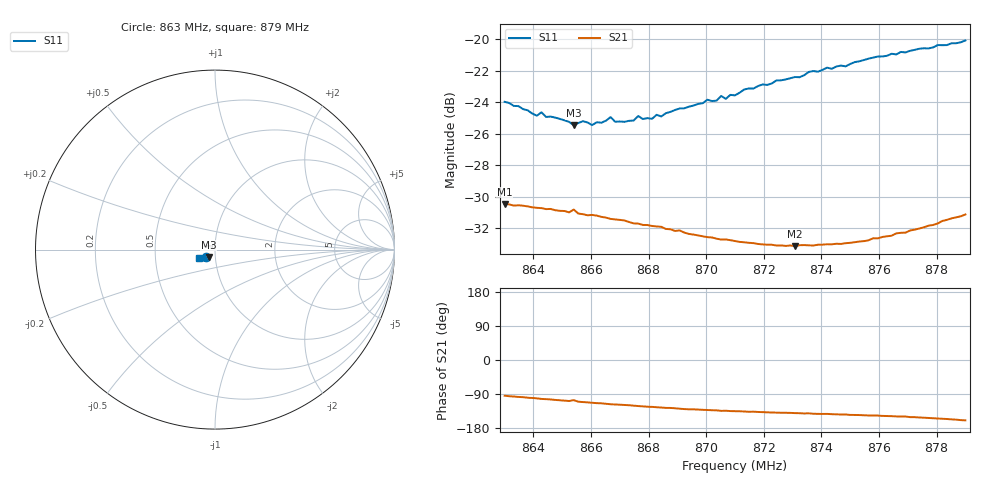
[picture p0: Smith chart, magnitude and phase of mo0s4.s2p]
# HZ S RI R 50
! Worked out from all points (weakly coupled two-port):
!   101 points, 863 MHz to 879 MHz, reference 50 ohm
!   highest |S21| = -30.47 dB at 863 MHz (marker M1); lowest = -33.1 dB at 873.08 MHz (marker M2)
!   lowest |S11| = -25.5 dB at 865.4 MHz (marker M3), VSWR 1.11, Z = 46.5 - j3.8 ohm
!   |S11| at or under -10 dB: start of sweep to end of sweep
!   S12 and S22 are empty: the file has one direction only
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8.63e8  -0.0486 -0.0405  -0.0022 -0.0299  0 0  0 0
8.6412e8  -0.0419 -0.0389  -0.00566 -0.0286  0 0  0 0
8.6428e8  -0.0419 -0.0409  -0.00642 -0.0284  0 0  0 0
8.6444e8  -0.0402 -0.0399  -0.00666 -0.0281  0 0  0 0
8.6524e8  -0.0376 -0.0396  -0.00881 -0.0268  0 0  0 0
8.654e8  -0.0344 -0.0407  -0.00791 -0.0277  0 0  0 0
8.6572e8  -0.0353 -0.042  -0.00996 -0.026  0 0  0 0
8.6604e8  -0.034 -0.0412  -0.0107 -0.0255  0 0  0 0
8.6668e8  -0.0352 -0.0443  -0.0121 -0.024  0 0  0 0
8.6684e8  -0.0331 -0.0435  -0.0123 -0.0238  0 0  0 0
8.6716e8  -0.0324 -0.044  -0.0127 -0.0233  0 0  0 0
8.6748e8  -0.0312 -0.0455  -0.0132 -0.0224  0 0  0 0
8.6764e8  -0.0331 -0.0464  -0.0136 -0.0221  0 0  0 0
8.678e8  -0.0319 -0.0458  -0.0138 -0.0217  0 0  0 0
8.6844e8  -0.0314 -0.0474  -0.0147 -0.0207  0 0  0 0
8.7004e8  -0.0343 -0.0544  -0.0157 -0.0175  0 0  0 0
8.71e8  -0.0361 -0.0556  -0.0162 -0.0161  0 0  0 0
8.7132e8  -0.0373 -0.0584  -0.0163 -0.0158  0 0  0 0
8.7308e8  -0.0455 -0.0607  -0.0169 -0.0141  0 0  0 0
8.7372e8  -0.0493 -0.062  -0.0174 -0.0137  0 0  0 0
8.7644e8  -0.0679 -0.0589  -0.0202 -0.0125  0 0  0 0
8.79e8  -0.0876 -0.0464  -0.026 -0.00981  0 0  0 0
